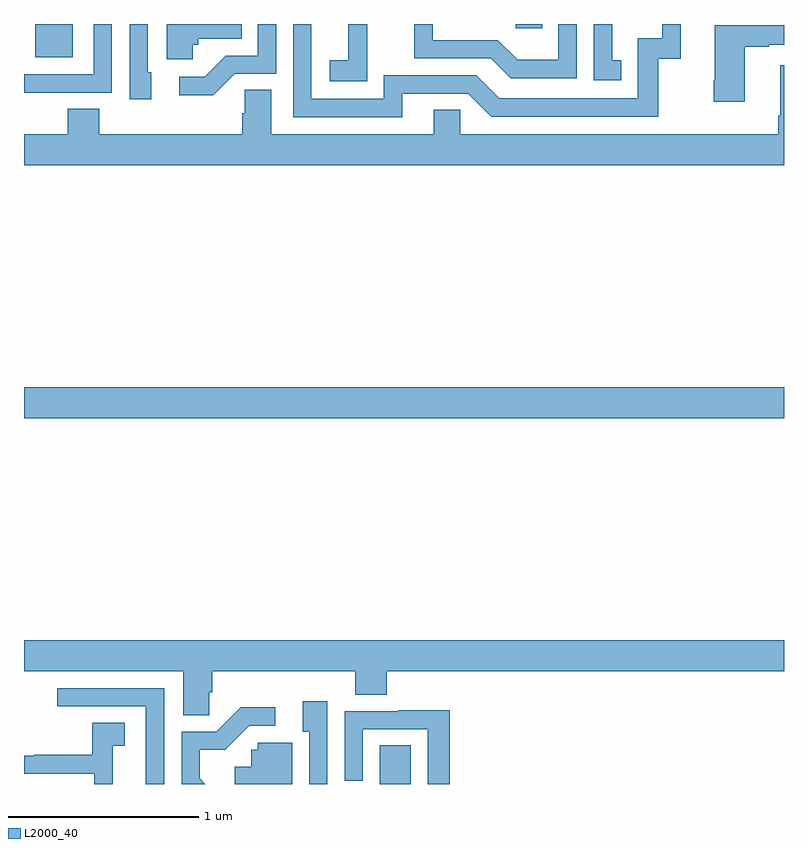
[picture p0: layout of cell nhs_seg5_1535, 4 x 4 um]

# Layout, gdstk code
import gdstk
lib = gdstk.Library(unit=1e-6, precision=1e-09)
def R(c, l, rs):  # rectangles x0, y0, x1, y1
    for r in rs: c.add(gdstk.rectangle(r[:2], r[2:], *l))
def P(c, l, *ps):  # polygons
    for p in ps: c.add(gdstk.Polygon(p, *l))
L2000_40 = (2000, 40)

nhs_seg5_1535 = lib.new_cell('nhs_seg5_1535')
R(nhs_seg5_1535, L2000_40, [(204.872,890.799,205.036,891.002), (203,892.724,207,892.888), (203.06,894.623,203.257,894.799), (205.587,894.777,205.727,894.799)])
P(nhs_seg5_1535, L2000_40, [(204.991,894.432),(205.338,894.432),(205.458,894.312),(206.338,894.312),(206.338,894.615),(206.456,894.615),(206.456,894.799),(206.358,894.799),(206.358,894.723),(206.229,894.723),(206.229,894.408),(205.5,894.408),(205.38,894.528),(204.894,894.528),(204.894,894.405),(204.513,894.405),(204.513,894.799),(204.417,894.799),(204.417,894.309),(204.991,894.309)],
  [(203.671,894.546),(203.652,894.546),(203.652,894.799),(203.556,894.799),(203.556,894.402),(203.671,894.402)],
  [(204.807,894.703),(204.806,894.703),(204.806,894.799),(204.707,894.799),(204.707,894.607),(204.609,894.607),(204.609,894.497),(204.807,894.497)],
  [(203.147,894.438),(203.463,894.438),(203.463,894.799),(203.367,894.799),(203.367,894.534),(203,894.534),(203,894.437),(203.147,894.437)],
  [(203.889,894.69),(203.916,894.69),(203.916,894.722),(204.146,894.722),(204.146,894.799),(203.75,894.799),(203.75,894.614),(203.889,894.614)],
  [(204.108,894.537),(204.327,894.537),(204.327,894.799),(204.231,894.799),(204.231,894.633),(204.062,894.633),(203.951,894.522),(203.817,894.522),(203.817,894.425),(203.995,894.425)],
  [(206.144,894.609),(206.095,894.609),(206.095,894.799),(205.998,894.799),(205.998,894.504),(206.144,894.504)],
  [(205.908,894.799),(205.812,894.799),(205.812,894.61),(205.598,894.61),(205.494,894.714),(205.152,894.714),(205.152,894.799),(205.054,894.799),(205.054,894.618),(205.457,894.618),(205.562,894.513),(205.908,894.513)],
  [(206.794,894.679),(206.921,894.679),(206.921,894.689),(207,894.689),(207,894.793),(206.636,894.793),(206.636,894.502),(206.629,894.502),(206.629,894.39),(206.794,894.39)],
  [(207,894.583),(206.981,894.583),(206.981,894.316),(206.969,894.316),(206.969,894.22),(205.296,894.22),(205.296,894.347),(205.157,894.347),(205.157,894.22),(204.301,894.22),(204.301,894.452),(204.162,894.452),(204.162,894.329),(204.149,894.329),(204.149,894.22),(203.396,894.22),(203.396,894.353),(203.231,894.353),(203.231,894.22),(203,894.22),(203,894.056),(207,894.056)],
  [(203.975,891.282),(203.99,891.282),(203.99,891.392),(204.743,891.392),(204.743,891.268),(204.908,891.268),(204.908,891.392),(207,891.392),(207,891.556),(203,891.556),(203,891.392),(203.837,891.392),(203.837,891.16),(203.975,891.16)],
  [(203.739,891.303),(203.175,891.303),(203.175,891.207),(203.642,891.207),(203.642,890.799),(203.739,890.799)],
  [(204.597,891.235),(204.467,891.235),(204.467,891.074),(204.501,891.074),(204.501,890.799),(204.597,890.799)],
  [(203.926,890.828),(203.926,890.978),(204.059,890.978),(204.186,891.105),(204.322,891.105),(204.322,891.203),(204.14,891.203),(204.012,891.075),(203.829,891.075),(203.829,890.799),(203.955,890.799)],
  [(205.241,891.187),(204.971,891.187),(204.971,891.183),(204.687,891.183),(204.687,890.817),(204.783,890.817),(204.783,891.087),(205.125,891.087),(205.125,890.799),(205.241,890.799)],
  [(203.466,891.001),(203.53,891.001),(203.53,891.122),(203.358,891.122),(203.358,890.952),(203.053,890.952),(203.053,890.949),(203,890.949),(203,890.853),(203.37,890.853),(203.37,890.799),(203.466,890.799)],
  [(204.412,891.015),(204.231,891.015),(204.231,890.979),(204.195,890.979),(204.195,890.89),(204.108,890.89),(204.108,890.799),(204.412,890.799)])

lib.write_gds('nhs_seg5_1535.gds')
